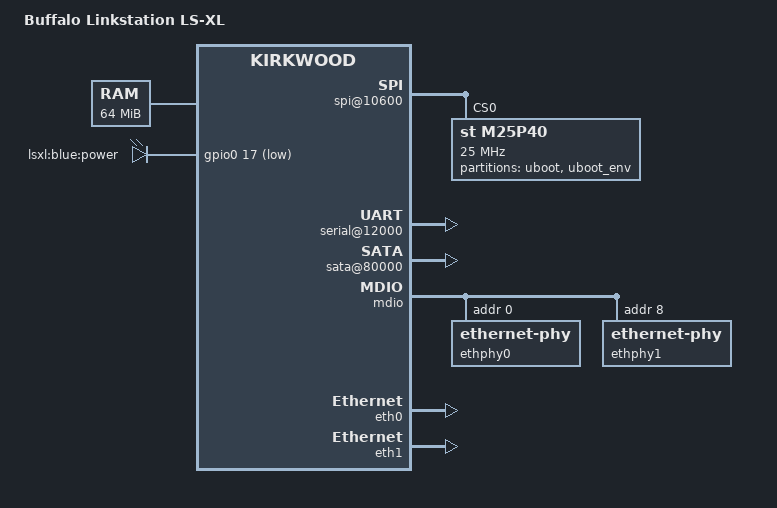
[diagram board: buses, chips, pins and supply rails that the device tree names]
// SPDX-License-Identifier: (GPL-2.0+ OR MIT)
/*
*
* Device Tree file for Buffalo Linkstation LS-XL
*
 */

/dts-v1/;
#include "kirkwood.dtsi"
#include "kirkwood-6281.dtsi"

/ {
	model = "Buffalo Linkstation LS-XL";
	compatible = "buffalo,lsxl", "marvell,kirkwood-88f6281", "marvell,kirkwood";

	chosen
	{
		bootargs = "console=ttyS0,115200n8 earlyprintk";
		stdout-path = &uart0;
	};

	memory
	{
		device_type = "memory"; 
		reg = <0x00000000 0x04000000>; /* 64 MB */
	};
	
	ocp@f1000000
	{
		spi@10600 
		{
			status = "okay";

			m25p40@0
			{
				#address-cells = <1>;
				#size-cells = <1>;
				compatible = "st,m25p40", "jedec,spi-nor";
				reg = <0>;
				spi-max-frequency = <25000000>;
				mode = <0>;

				partition@0
				{
					reg = <0x0 0x70000>;
					label = "uboot";
					read-only;
				};

				partition@70000
				{
					reg = <0x70000 0x10000>;
					label = "uboot_env";
					read-only;
				};
			};
		};
		
		pinctrl: pin-controller@10000
		{
			pmx_led_power: pmx-led-power
			{
				marvell,pins = "mpp17";
				marvell,function = "gpio";
			};
		};
				
		serial@12000
		{
			status = "okay";
		};
		
		sata@80000
		{
			nr-ports = <1>;
			status = "okay";
		};
	};

	gpio_leds
	{
		compatible = "gpio-leds";
		pinctrl-0 = <&pmx_led_power>;
		pinctrl-names = "default";

		power
		{
			label = "lsxl:blue:power";
			gpios = <&gpio0 17 GPIO_ACTIVE_LOW>;
			default-state = "keep";
		};
	};

	restart_poweroff
	{
		compatible = "restart-poweroff";
	};
};

&mdio 
{
	status = "okay";
	ethphy0: ethernet-phy@0 
	{
		device_type = "ethernet-phy";
		reg = <0>;
	};

	ethphy1: ethernet-phy@8
	{
		device_type = "ethernet-phy";
		reg = <8>;
	};
};

&eth0 
{
	status = "okay";
	ethernet0-port@0 
	{
		phy-handle = <&ethphy0>;
	};
};

&eth1
{
	status = "okay";
	ethernet1-port@0
	{
		phy-handle = <&ethphy1>;
	};
};
